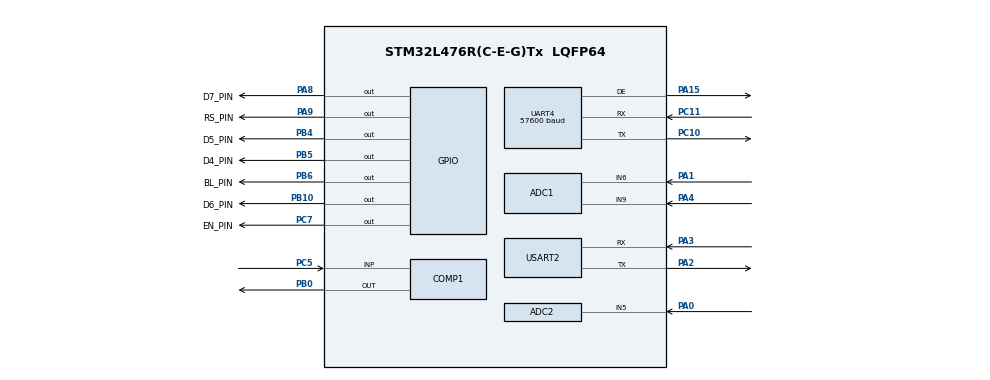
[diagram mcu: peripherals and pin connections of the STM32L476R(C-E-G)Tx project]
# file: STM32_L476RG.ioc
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ADC1.Channel-3\#ChannelRegularConversion=ADC_CHANNEL_6
ADC1.ClockPrescaler=ADC_CLOCK_ASYNC_DIV32
ADC1.ContinuousConvMode=ENABLE
ADC1.DMAContinuousRequests=ENABLE
ADC1.ExternalTrigConv=ADC_SOFTWARE_START
ADC1.NbrOfConversionFlag=1
ADC1.OffsetNumber-3\#ChannelRegularConversion=ADC_OFFSET_NONE
ADC1.Rank-3\#ChannelRegularConversion=1
ADC1.SamplingTime-3\#ChannelRegularConversion=ADC_SAMPLETIME_2CYCLES_5
ADC1.master=1
ADC2.Channel-0\#ChannelRegularConversion=ADC_CHANNEL_5
ADC2.ClockPrescaler=ADC_CLOCK_ASYNC_DIV32
ADC2.NbrOfConversionFlag=1
ADC2.OffsetNumber-0\#ChannelRegularConversion=ADC_OFFSET_NONE
ADC2.Rank-0\#ChannelRegularConversion=1
ADC2.SamplingTime-0\#ChannelRegularConversion=ADC_SAMPLETIME_2CYCLES_5
COMP1.Hysteresis=COMP_HYSTERESIS_HIGH
Dma.ADC1.0.Direction=DMA_PERIPH_TO_MEMORY
Dma.ADC1.0.Instance=DMA1_Channel1
Dma.ADC1.0.MemDataAlignment=DMA_MDATAALIGN_HALFWORD
Dma.ADC1.0.MemInc=DMA_MINC_ENABLE
Dma.ADC1.0.Mode=DMA_CIRCULAR
Dma.ADC1.0.PeriphDataAlignment=DMA_PDATAALIGN_HALFWORD
Dma.ADC1.0.PeriphInc=DMA_PINC_DISABLE
Dma.ADC1.0.Priority=DMA_PRIORITY_LOW
Dma.Request0=ADC1
Dma.Request1=UART4_TX
Dma.UART4_TX.1.Direction=DMA_MEMORY_TO_PERIPH
Dma.UART4_TX.1.Instance=DMA2_Channel3
Dma.UART4_TX.1.MemDataAlignment=DMA_MDATAALIGN_BYTE
Dma.UART4_TX.1.MemInc=DMA_MINC_ENABLE
Dma.UART4_TX.1.Mode=DMA_NORMAL
Dma.UART4_TX.1.PeriphDataAlignment=DMA_PDATAALIGN_BYTE
Dma.UART4_TX.1.PeriphInc=DMA_PINC_DISABLE
Dma.UART4_TX.1.Priority=DMA_PRIORITY_LOW
Mcu.Family=STM32L4
Mcu.Name=STM32L476R(C-E-G)Tx
Mcu.Package=LQFP64
NVIC.DMA1_Channel1_IRQn=true\:0\:0\:false\:false\:true\:false\:true\:true
NVIC.DMA2_Channel3_IRQn=true\:0\:0\:false\:false\:true\:false\:true\:true
NVIC.PriorityGroup=NVIC_PRIORITYGROUP_4
NVIC.TIM1_CC_IRQn=true\:0\:0\:false\:false\:true\:true\:true\:true
NVIC.TIM1_UP_TIM16_IRQn=true\:0\:0\:false\:false\:true\:true\:true\:true
PA0.Signal=ADCx_IN5
PA1.Signal=ADCx_IN6
PA15\ (JTDI).Mode=Hardware Flow Control (RS485)
PA15\ (JTDI).Signal=UART4_DE
PA2.Mode=Asynchronous
PA2.Signal=USART2_TX
PA3.Mode=Asynchronous
PA3.Signal=USART2_RX
PA4.Signal=ADCx_IN9
PA8.GPIO_Label=D7_PIN
PA8.Signal=GPIO_Output
PA9.GPIO_Label=RS_PIN
PA9.Signal=GPIO_Output
PB0.Mode=ExternalOutput
PB0.Signal=COMP1_OUT
PB10.GPIO_Label=D6_PIN
PB10.Signal=GPIO_Output
PB4\ (NJTRST).GPIO_Label=D5_PIN
PB4\ (NJTRST).Signal=GPIO_Output
PB5.GPIO_Label=D4_PIN
PB5.Signal=GPIO_Output
PB6.GPIO_Label=BL_PIN
PB6.Signal=GPIO_Output
PC10.Mode=Asynchronous
PC10.Signal=UART4_TX
PC11.Mode=Asynchronous
PC11.Signal=UART4_RX
PC14-OSC32_IN\ (PC14).Mode=LSE-External-Oscillator
PC14-OSC32_IN\ (PC14).Signal=RCC_OSC32_IN
PC15-OSC32_OUT\ (PC15).Mode=LSE-External-Oscillator
PC15-OSC32_OUT\ (PC15).Signal=RCC_OSC32_OUT
PC5.Mode=INP
PC5.Signal=COMP1_INP
PC7.GPIO_Label=EN_PIN
PC7.Signal=GPIO_Output
ProjectManager.HeapSize=0x200
ProjectManager.StackSize=0x400
ProjectManager.TargetToolchain=STM32CubeIDE
RCC.ADCFreq_Value=64000000
RCC.HSE_VALUE=8000000
RCC.HSI_VALUE=16000000
RCC.MSI_VALUE=4000000
RCC.PLLSourceVirtual=RCC_PLLSOURCE_HSI
RCC.UART4CLockSelection=RCC_UART4CLKSOURCE_HSI
RCC.USBFreq_Value=64000000
RCC.VCOOutputFreq_Value=128000000
SH.ADCx_IN5.0=ADC2_IN5,IN5-Single-Ended
SH.ADCx_IN6.0=ADC1_IN6,IN6-Single-Ended
SH.ADCx_IN9.0=ADC1_IN9,IN9-Single-Ended
TIM1.Channel-Input_Capture1_from_TI1_REMAP_TIM1=TIM_CHANNEL_1
TIM1.ICFilter_CH1=0
TIM1.TIM1_ETR_COMP_REMAP-TriggerSource_ETR_ADC_Remap_TIM1=TIM_TIM1_ETR_COMP1
UART4.BaudRate=57600
UART4.UART_DEDeassertionTime=1
USART2.VirtualMode-Asynchronous=VM_ASYNC
VP_COMP1_VS_VREFINT14.Mode=VREFINT_14
VP_TIM1_VS_ClockSourceINT.Mode=Internal
VP_TIM1_VS_ControllerModeTrigger.Mode=Trigger Mode
VP_TIM1_VS_NoETR.Mode=TriggerSource_ETR_ADC_Remap_TIM1
VP_TIM1_VS_NoInput1.Mode=Input_Capture1_from_TI1_REMAP_TIM1
board=custom

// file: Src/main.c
/* USER CODE BEGIN Header */
/**
  ******************************************************************************
  * @file           : main.c
  * @brief          : Main program body
  ******************************************************************************
  * @attention
  *
  * Copyright (c) 2025 STMicroelectronics.
  * All rights reserved.
  *
  * This software is licensed under terms that can be found in the LICENSE file
  * in the root directory of this software component.
  * If no LICENSE file comes with this software, it is provided AS-IS.
  *
  ******************************************************************************
  */
/* USER CODE END Header */
#include "main.h"
#include "adc.h"
#include "comp.h"
#include "dma.h"
#include "tim.h"
#include "usart.h"
#include "gpio.h"

/* USER CODE BEGIN PV */
//TIM_HandleTypeDef htim1;
//UART_HandleTypeDef huart2;

//variables for comparator
int flag = 0;

int __io_putchar(int ch) {
	HAL_UART_Transmit(&huart2, (uint8_t *)&ch, 1, 50);
	return ch;
}

char uart_buf[50] = "\0";
int uart_buf_len = 0;

ADC_PARAM ADC_parameter = {0};
FFT_RESULTS FFT_results = {0};
Velocity velocity = {0};
bool adcIsReady = false;

char TxData[16];

/* USER CODE END PV */

void SystemClock_Config(void);
void PeriphCommonClock_Config(void);

int main(void)
{

  /* USER CODE BEGIN 1 */
	char uart_buf[50] = "\0";
	int uart_buf_len = 0;
  /* USER CODE END 1 */

  /* MCU Configuration--------------------------------------------------------*/

  /* Reset of all peripherals, Initializes the Flash interface and the Systick. */
  HAL_Init();

  /* Configure the system clock */
  SystemClock_Config();

  /* Configure the peripherals common clocks */
  PeriphCommonClock_Config();

  /* Initialize all configured peripherals */
  MX_GPIO_Init();
  MX_DMA_Init();
  MX_COMP1_Init();
  MX_TIM1_Init();
  MX_USART2_UART_Init();
  MX_ADC1_Init();
  MX_ADC2_Init();
  MX_UART4_Init();
  /* USER CODE BEGIN 2 */
  HAL_COMP_Start(&hcomp1);
  HAL_TIM_Base_Start_IT(&htim1);
  HAL_TIM_IC_Start_IT(&htim1, TIM_CHANNEL_1);

  HAL_ADCEx_Calibration_Start(&hadc1, ADC_SINGLE_ENDED);
  HAL_ADC_Start_DMA(&hadc1, ADC_BUFFER, ADC_BUFFER_SIZE);

  initFFT(&ADC_params, &FFT_res);
  HAL_Delay(100);
  initComp();
  HAL_Delay(100);
  lcdInit();
  HAL_Delay(100);
  lcdClear();
  HAL_Delay(10);

  lcdSetCursor(0, 0);
  lcdPrint("System");
  lcdSetCursor(1, 0);
  lcdPrint("Initialized!");

  HAL_Delay(100);
  lcdClear();

  lcdSetCursor(0, 0);
  lcdPrint("Freq: ");

  /* USER CODE END 2 */

  /* Infinite loop */
  /* USER CODE BEGIN WHILE */
  while (1)
  {
	  /*int freqResult = (int)ceil(FFT_res.favg);
	  	  if (freqResult != previousADCFreq || freqResult == previousADCFreq) {
	  		  previousADCFreq = freqResult;
	  		  lcdClear();
	  		  lcdSetCursor(0, 0);
	  		  lcdPrint("Freq: ");
	  		  lcdSetCursor(1, 0);
	  		  char freqString[10];
	  		  sprintf(freqString, "%d Hz", freqResult);
	  		  lcdPrint(freqString);
	  	  }
	  	uart_buf_len = sprintf(uart_buf, "Bruh \r\n");
	  	HAL_UART_Transmit(&huart2, uart_buf, uart_buf_len, 10);*/
	  /*int freqResult = (int)ceil(FFT_res.favg);
	  lcdClear();
	  lcdSetCursor(0, 0);
	  lcdPrint("Freq: ");
	  lcdSetCursor(1, 0);
	  char freqString[10];
	  sprintf(freqString, "%d Hz", freqResult);
	  lcdPrint(freqString);
	  uart_buf_len = sprintf(uart_buf, "Bleh \r\n");
	  HAL_UART_Transmit(&huart2, uart_buf, uart_buf_len, 10);*/
	  //calcFreqComp();

	  //if (adcIsReady) {
		  //calcFreqAvg();
		  /*int freqResult = (int)ceil(FFT_res.favg);
		  lcdClear();
		  lcdSetCursor(0, 0);
		  lcdPrint("Freq: ");
		  lcdSetCursor(1, 0);
		  char freqString[10];
		  sprintf(freqString, "%d Hz", freqResult);
		  lcdPrint(freqString);*/
		  //adcPage();
		  /*calcFreqComp();
		  comPage();
		  uart_buf_len = sprintf(uart_buf, "HALO \r\n");
		  HAL_UART_Transmit(&huart2, uart_buf, uart_buf_len, 10);
		  adcIsReady = false;
	  }*/

	  mapButtons();
	  displayPage();
	  HAL_Delay(50);

	  /*uint8_t test = 5;
	  //uint8_t bcd = velocityToPacket(test);
	  sendPacket(&test);*/

	  /*
	   Right: 0
	   Up: 750
	   Down: 1810
	   Left: 2860
	   Select: 4095
	   */

	  /*if (adcIsReady) {
	  	calcFreqAvg();
	  }
	  HAL_ADC_Start(&hadc2);
	  HAL_ADC_PollForConversion(&hadc2, 100);
	  uint16_t raw = (uint16_t) HAL_ADC_GetValue(&hadc2);
	  uart_buf_len = sprintf(uart_buf, "%u \r\n", raw);
	  HAL_UART_Transmit(&huart2, uart_buf, uart_buf_len, 100);
		*/

    /* USER CODE END WHILE */

  }
}

void SystemClock_Config(void)
{
  RCC_OscInitTypeDef RCC_OscInitStruct = {0};
  RCC_ClkInitTypeDef RCC_ClkInitStruct = {0};

  /** Configure the main internal regulator output voltage
  */
  if (HAL_PWREx_ControlVoltageScaling(PWR_REGULATOR_VOLTAGE_SCALE1) != HAL_OK)
  {
    Error_Handler();
  }

  /** Configure LSE Drive Capability
  */
  HAL_PWR_EnableBkUpAccess();
  __HAL_RCC_LSEDRIVE_CONFIG(RCC_LSEDRIVE_LOW);

  /** Initializes the RCC Oscillators according to the specified parameters
  * in the RCC_OscInitTypeDef structure.
  */
  RCC_OscInitStruct.OscillatorType = RCC_OSCILLATORTYPE_HSI|RCC_OSCILLATORTYPE_LSE
                              |RCC_OSCILLATORTYPE_MSI;
  RCC_OscInitStruct.LSEState = RCC_LSE_ON;
  RCC_OscInitStruct.HSIState = RCC_HSI_ON;
  RCC_OscInitStruct.HSICalibrationValue = RCC_HSICALIBRATION_DEFAULT;
  RCC_OscInitStruct.MSIState = RCC_MSI_ON;
  RCC_OscInitStruct.MSICalibrationValue = 0;
  RCC_OscInitStruct.MSIClockRange = RCC_MSIRANGE_6;
  RCC_OscInitStruct.PLL.PLLState = RCC_PLL_NONE;
  if (HAL_RCC_OscConfig(&RCC_OscInitStruct) != HAL_OK)
  {
    Error_Handler();
  }

  /** Initializes the CPU, AHB and APB buses clocks
  */
  RCC_ClkInitStruct.ClockType = RCC_CLOCKTYPE_HCLK|RCC_CLOCKTYPE_SYSCLK
                              |RCC_CLOCKTYPE_PCLK1|RCC_CLOCKTYPE_PCLK2;
  RCC_ClkInitStruct.SYSCLKSource = RCC_SYSCLKSOURCE_MSI;
  RCC_ClkInitStruct.AHBCLKDivider = RCC_SYSCLK_DIV1;
  RCC_ClkInitStruct.APB1CLKDivider = RCC_HCLK_DIV1;
  RCC_ClkInitStruct.APB2CLKDivider = RCC_HCLK_DIV1;

  if (HAL_RCC_ClockConfig(&RCC_ClkInitStruct, FLASH_LATENCY_0) != HAL_OK)
  {
    Error_Handler();
  }

  /** Enable MSI Auto calibration
  */
  HAL_RCCEx_EnableMSIPLLMode();
}

void PeriphCommonClock_Config(void)
{
  RCC_PeriphCLKInitTypeDef PeriphClkInit = {0};

  /** Initializes the peripherals clock
  */
  PeriphClkInit.PeriphClockSelection = RCC_PERIPHCLK_ADC;
  PeriphClkInit.AdcClockSelection = RCC_ADCCLKSOURCE_PLLSAI1;
  PeriphClkInit.PLLSAI1.PLLSAI1Source = RCC_PLLSOURCE_HSI;
  PeriphClkInit.PLLSAI1.PLLSAI1M = 1;
  PeriphClkInit.PLLSAI1.PLLSAI1N = 8;
  PeriphClkInit.PLLSAI1.PLLSAI1P = RCC_PLLP_DIV7;
  PeriphClkInit.PLLSAI1.PLLSAI1Q = RCC_PLLQ_DIV2;
  PeriphClkInit.PLLSAI1.PLLSAI1R = RCC_PLLR_DIV2;
  PeriphClkInit.PLLSAI1.PLLSAI1ClockOut = RCC_PLLSAI1_ADC1CLK;
  if (HAL_RCCEx_PeriphCLKConfig(&PeriphClkInit) != HAL_OK)
  {
    Error_Handler();
  }
}

void Error_Handler(void)
{
  __disable_irq();
  while (1)
  {
  }
}
